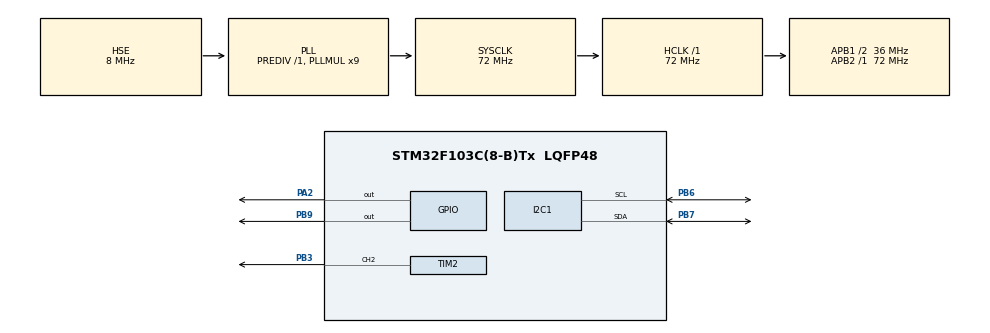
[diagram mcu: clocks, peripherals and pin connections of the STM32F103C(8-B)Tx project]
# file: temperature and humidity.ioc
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I2C1.I2C_Mode=I2C_Fast
Mcu.Family=STM32F1
Mcu.Name=STM32F103C(8-B)Tx
Mcu.Package=LQFP48
NVIC.PriorityGroup=NVIC_PRIORITYGROUP_4
PA13.Mode=Serial_Wire
PA13.Signal=SYS_JTMS-SWDIO
PA14.Mode=Serial_Wire
PA14.Signal=SYS_JTCK-SWCLK
PA2.Signal=GPIO_Output
PB3.Signal=S_TIM2_CH2
PB6.Mode=I2C
PB6.Signal=I2C1_SCL
PB7.Mode=I2C
PB7.Signal=I2C1_SDA
PB9.Signal=GPIO_Output
PD0-OSC_IN.Mode=HSE-External-Oscillator
PD0-OSC_IN.Signal=RCC_OSC_IN
PD1-OSC_OUT.Mode=HSE-External-Oscillator
PD1-OSC_OUT.Signal=RCC_OSC_OUT
ProjectManager.HeapSize=0x200
ProjectManager.StackSize=0x400
ProjectManager.TargetToolchain=STM32CubeIDE
RCC.AHBFreq_Value=72000000
RCC.APB1CLKDivider=RCC_HCLK_DIV2
RCC.APB1Freq_Value=36000000
RCC.APB1TimFreq_Value=72000000
RCC.APB2Freq_Value=72000000
RCC.APB2TimFreq_Value=72000000
RCC.HCLKFreq_Value=72000000
RCC.PLLMUL=RCC_PLL_MUL9
RCC.PLLSourceVirtual=RCC_PLLSOURCE_HSE
RCC.SYSCLKFreq_VALUE=72000000
RCC.SYSCLKSource=RCC_SYSCLKSOURCE_PLLCLK
RCC.USBFreq_Value=72000000
SH.S_TIM2_CH2.0=TIM2_CH2,PWM Generation2 CH2
TIM1.Prescaler=71
TIM2.Channel-PWM\ Generation2\ CH2=TIM_CHANNEL_2
TIM2.Period=625
TIM2.Prescaler=127
VP_TIM1_VS_ClockSourceINT.Mode=Internal
VP_TIM2_VS_ClockSourceINT.Mode=Internal
board=custom

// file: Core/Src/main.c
/* USER CODE BEGIN Header */
/**
  ******************************************************************************
  * @file           : main.c
  * @brief          : Main program body
  ******************************************************************************
  * @attention
  *
  * Copyright (c) 2024 STMicroelectronics.
  * All rights reserved.
  *
  * This software is licensed under terms that can be found in the LICENSE file
  * in the root directory of this software component.
  * If no LICENSE file comes with this software, it is provided AS-IS.
  *
  ******************************************************************************
  */
/* USER CODE END Header */
#include "main.h"

/* USER CODE BEGIN Includes */
#include "fonts.h"
#include "ssd1306.h"
#include "stdio.h"
/* USER CODE END Includes */

I2C_HandleTypeDef hi2c1;

TIM_HandleTypeDef htim1;
TIM_HandleTypeDef htim2;

void SystemClock_Config(void);
static void MX_GPIO_Init(void);
static void MX_I2C1_Init(void);
static void MX_TIM1_Init(void);
static void MX_TIM2_Init(void);

/* USER CODE BEGIN 0 */
#define DHT11_PORT GPIOB
#define DHT11_PIN GPIO_PIN_9
uint8_t RHI, RHD, TCI, TCD, SUM;
uint32_t pMillis, cMillis;
float tCelsius = 0;
float tFahrenheit = 0;
float RH = 0;
uint8_t TFI = 0;
uint8_t TFD = 0;
char strCopy[15];

void microDelay (uint16_t delay)
{
  __HAL_TIM_SET_COUNTER(&htim1, 0);
  while (__HAL_TIM_GET_COUNTER(&htim1) < delay);
}

uint8_t DHT11_Start (void)
{
  uint8_t Response = 0;
  GPIO_InitTypeDef GPIO_InitStructPrivate = {0};
  GPIO_InitStructPrivate.Pin = DHT11_PIN;
  GPIO_InitStructPrivate.Mode = GPIO_MODE_OUTPUT_PP;
  GPIO_InitStructPrivate.Speed = GPIO_SPEED_FREQ_LOW;
  GPIO_InitStructPrivate.Pull = GPIO_NOPULL;
  HAL_GPIO_Init(DHT11_PORT, &GPIO_InitStructPrivate); // set the pin as output
  HAL_GPIO_WritePin (DHT11_PORT, DHT11_PIN, 0);   // pull the pin low
  HAL_Delay(20);   // wait for 20ms
  HAL_GPIO_WritePin (DHT11_PORT, DHT11_PIN, 1);   // pull the pin high
  microDelay (30);   // wait for 30us
  GPIO_InitStructPrivate.Mode = GPIO_MODE_INPUT;
  GPIO_InitStructPrivate.Pull = GPIO_PULLUP;
  HAL_GPIO_Init(DHT11_PORT, &GPIO_InitStructPrivate); // set the pin as input
  microDelay (40);
  if (!(HAL_GPIO_ReadPin (DHT11_PORT, DHT11_PIN)))
  {
    microDelay (80);
    if ((HAL_GPIO_ReadPin (DHT11_PORT, DHT11_PIN))) Response = 1;
  }
  pMillis = HAL_GetTick();
  cMillis = HAL_GetTick();
  while ((HAL_GPIO_ReadPin (DHT11_PORT, DHT11_PIN)) && pMillis + 2 > cMillis)
  {
    cMillis = HAL_GetTick();
  }
  return Response;
}

uint8_t DHT11_Read (void)
{
  uint8_t a,b;
  for (a=0;a<8;a++)
  {
    pMillis = HAL_GetTick();
    cMillis = HAL_GetTick();
    while (!(HAL_GPIO_ReadPin (DHT11_PORT, DHT11_PIN)) && pMillis + 2 > cMillis)
    {  // wait for the pin to go high
      cMillis = HAL_GetTick();
    }
    microDelay (40);   // wait for 40 us
    if (!(HAL_GPIO_ReadPin (DHT11_PORT, DHT11_PIN)))   // if the pin is low
      b&= ~(1<<(7-a));
    else
      b|= (1<<(7-a));
    pMillis = HAL_GetTick();
    cMillis = HAL_GetTick();
    while ((HAL_GPIO_ReadPin (DHT11_PORT, DHT11_PIN)) && pMillis + 2 > cMillis)
    {  // wait for the pin to go low
      cMillis = HAL_GetTick();
    }
  }
  return b;
}
/* USER CODE END 0 */

int main(void)
{

  /* MCU Configuration--------------------------------------------------------*/

  /* Reset of all peripherals, Initializes the Flash interface and the Systick. */
  HAL_Init();

  /* Configure the system clock */
  SystemClock_Config();

  /* Initialize all configured peripherals */
  MX_GPIO_Init();
  MX_I2C1_Init();
  MX_TIM1_Init();
  MX_TIM2_Init();
  /* USER CODE BEGIN 2 */
   HAL_TIM_Base_Start(&htim1);
   SSD1306_Init();
  /* USER CODE END 2 */

  /* Infinite loop */
  /* USER CODE BEGIN WHILE */
  while (1)
  {
	  if(DHT11_Start())
	     {
	       RHI = DHT11_Read(); // Relative humidity integral
	       RHD = DHT11_Read(); // Relative humidity decimal
	       TCI = DHT11_Read(); // Celsius integral
	       TCD = DHT11_Read(); // Celsius decimal
	       SUM = DHT11_Read(); // Check sum
	       if (RHI + RHD + TCI + TCD == SUM)
	       {
	         // Can use RHI and TCI for any purposes if whole number only needed
	         tCelsius = (float)TCI + (float)(TCD/10.0);
	         tFahrenheit = tCelsius * 9/5 + 32;
	         RH = (float)RHI + (float)(RHD/10.0);
	         // Can use tCelsius, tFahrenheit and RH for any purposes
	         TFI = tFahrenheit;  // Fahrenheit integral
	         TFD = tFahrenheit*10-TFI*10; // Fahrenheit decimal
	         sprintf(strCopy,"%d.%d C   ", TCI, TCD);
	         SSD1306_GotoXY (0, 0);
	         SSD1306_Puts (strCopy, &Font_11x18, 1);
	         sprintf(strCopy,"%d.%d F   ", TFI, TFD);
	         SSD1306_GotoXY (0, 20);
	         SSD1306_Puts (strCopy, &Font_11x18, 1);
	         sprintf(strCopy,"%d.%d %%  ", RHI, RHD);
	         SSD1306_GotoXY (0, 40);
	         SSD1306_Puts (strCopy, &Font_11x18, 1);
	         SSD1306_UpdateScreen();
	       }

	       if(tCelsius>20){
	    	   HAL_GPIO_TogglePin(GPIOA, GPIO_PIN_2);
	       }
	     }
	     HAL_Delay(100);
    /* USER CODE END WHILE */

  }
}

void SystemClock_Config(void)
{
  RCC_OscInitTypeDef RCC_OscInitStruct = {0};
  RCC_ClkInitTypeDef RCC_ClkInitStruct = {0};

  /** Initializes the RCC Oscillators according to the specified parameters
  * in the RCC_OscInitTypeDef structure.
  */
  RCC_OscInitStruct.OscillatorType = RCC_OSCILLATORTYPE_HSE;
  RCC_OscInitStruct.HSEState = RCC_HSE_ON;
  RCC_OscInitStruct.HSEPredivValue = RCC_HSE_PREDIV_DIV1;
  RCC_OscInitStruct.HSIState = RCC_HSI_ON;
  RCC_OscInitStruct.PLL.PLLState = RCC_PLL_ON;
  RCC_OscInitStruct.PLL.PLLSource = RCC_PLLSOURCE_HSE;
  RCC_OscInitStruct.PLL.PLLMUL = RCC_PLL_MUL9;
  if (HAL_RCC_OscConfig(&RCC_OscInitStruct) != HAL_OK)
  {
    Error_Handler();
  }

  /** Initializes the CPU, AHB and APB buses clocks
  */
  RCC_ClkInitStruct.ClockType = RCC_CLOCKTYPE_HCLK|RCC_CLOCKTYPE_SYSCLK
                              |RCC_CLOCKTYPE_PCLK1|RCC_CLOCKTYPE_PCLK2;
  RCC_ClkInitStruct.SYSCLKSource = RCC_SYSCLKSOURCE_PLLCLK;
  RCC_ClkInitStruct.AHBCLKDivider = RCC_SYSCLK_DIV1;
  RCC_ClkInitStruct.APB1CLKDivider = RCC_HCLK_DIV2;
  RCC_ClkInitStruct.APB2CLKDivider = RCC_HCLK_DIV1;

  if (HAL_RCC_ClockConfig(&RCC_ClkInitStruct, FLASH_LATENCY_2) != HAL_OK)
  {
    Error_Handler();
  }
}

static void MX_I2C1_Init(void)
{

  hi2c1.Instance = I2C1;
  hi2c1.Init.ClockSpeed = 400000;
  hi2c1.Init.DutyCycle = I2C_DUTYCYCLE_2;
  hi2c1.Init.OwnAddress1 = 0;
  hi2c1.Init.AddressingMode = I2C_ADDRESSINGMODE_7BIT;
  hi2c1.Init.DualAddressMode = I2C_DUALADDRESS_DISABLE;
  hi2c1.Init.OwnAddress2 = 0;
  hi2c1.Init.GeneralCallMode = I2C_GENERALCALL_DISABLE;
  hi2c1.Init.NoStretchMode = I2C_NOSTRETCH_DISABLE;
  if (HAL_I2C_Init(&hi2c1) != HAL_OK)
  {
    Error_Handler();
  }

}

static void MX_TIM1_Init(void)
{

  TIM_ClockConfigTypeDef sClockSourceConfig = {0};
  TIM_MasterConfigTypeDef sMasterConfig = {0};

  htim1.Instance = TIM1;
  htim1.Init.Prescaler = 71;
  htim1.Init.CounterMode = TIM_COUNTERMODE_UP;
  htim1.Init.Period = 65535;
  htim1.Init.ClockDivision = TIM_CLOCKDIVISION_DIV1;
  htim1.Init.RepetitionCounter = 0;
  htim1.Init.AutoReloadPreload = TIM_AUTORELOAD_PRELOAD_DISABLE;
  if (HAL_TIM_Base_Init(&htim1) != HAL_OK)
  {
    Error_Handler();
  }
  sClockSourceConfig.ClockSource = TIM_CLOCKSOURCE_INTERNAL;
  if (HAL_TIM_ConfigClockSource(&htim1, &sClockSourceConfig) != HAL_OK)
  {
    Error_Handler();
  }
  sMasterConfig.MasterOutputTrigger = TIM_TRGO_RESET;
  sMasterConfig.MasterSlaveMode = TIM_MASTERSLAVEMODE_DISABLE;
  if (HAL_TIMEx_MasterConfigSynchronization(&htim1, &sMasterConfig) != HAL_OK)
  {
    Error_Handler();
  }

}

static void MX_TIM2_Init(void)
{

  TIM_ClockConfigTypeDef sClockSourceConfig = {0};
  TIM_MasterConfigTypeDef sMasterConfig = {0};
  TIM_OC_InitTypeDef sConfigOC = {0};

  htim2.Instance = TIM2;
  htim2.Init.Prescaler = 127;
  htim2.Init.CounterMode = TIM_COUNTERMODE_UP;
  htim2.Init.Period = 625;
  htim2.Init.ClockDivision = TIM_CLOCKDIVISION_DIV1;
  htim2.Init.AutoReloadPreload = TIM_AUTORELOAD_PRELOAD_DISABLE;
  if (HAL_TIM_Base_Init(&htim2) != HAL_OK)
  {
    Error_Handler();
  }
  sClockSourceConfig.ClockSource = TIM_CLOCKSOURCE_INTERNAL;
  if (HAL_TIM_ConfigClockSource(&htim2, &sClockSourceConfig) != HAL_OK)
  {
    Error_Handler();
  }
  if (HAL_TIM_PWM_Init(&htim2) != HAL_OK)
  {
    Error_Handler();
  }
  sMasterConfig.MasterOutputTrigger = TIM_TRGO_RESET;
  sMasterConfig.MasterSlaveMode = TIM_MASTERSLAVEMODE_DISABLE;
  if (HAL_TIMEx_MasterConfigSynchronization(&htim2, &sMasterConfig) != HAL_OK)
  {
    Error_Handler();
  }
  sConfigOC.OCMode = TIM_OCMODE_PWM1;
  sConfigOC.Pulse = 0;
  sConfigOC.OCPolarity = TIM_OCPOLARITY_HIGH;
  sConfigOC.OCFastMode = TIM_OCFAST_DISABLE;
  if (HAL_TIM_PWM_ConfigChannel(&htim2, &sConfigOC, TIM_CHANNEL_2) != HAL_OK)
  {
    Error_Handler();
  }
  HAL_TIM_MspPostInit(&htim2);

}

static void MX_GPIO_Init(void)
{
  GPIO_InitTypeDef GPIO_InitStruct = {0};

  /* GPIO Ports Clock Enable */
  __HAL_RCC_GPIOD_CLK_ENABLE();
  __HAL_RCC_GPIOA_CLK_ENABLE();
  __HAL_RCC_GPIOB_CLK_ENABLE();

  /*Configure GPIO pin Output Level */
  HAL_GPIO_WritePin(GPIOA, GPIO_PIN_2, GPIO_PIN_RESET);

  /*Configure GPIO pin Output Level */
  HAL_GPIO_WritePin(GPIOB, GPIO_PIN_9, GPIO_PIN_RESET);

  /*Configure GPIO pin : PA2 */
  GPIO_InitStruct.Pin = GPIO_PIN_2;
  GPIO_InitStruct.Mode = GPIO_MODE_OUTPUT_PP;
  GPIO_InitStruct.Pull = GPIO_NOPULL;
  GPIO_InitStruct.Speed = GPIO_SPEED_FREQ_LOW;
  HAL_GPIO_Init(GPIOA, &GPIO_InitStruct);

  /*Configure GPIO pin : PB9 */
  GPIO_InitStruct.Pin = GPIO_PIN_9;
  GPIO_InitStruct.Mode = GPIO_MODE_OUTPUT_PP;
  GPIO_InitStruct.Pull = GPIO_NOPULL;
  GPIO_InitStruct.Speed = GPIO_SPEED_FREQ_LOW;
  HAL_GPIO_Init(GPIOB, &GPIO_InitStruct);

}

void Error_Handler(void)
{
  __disable_irq();
  while (1)
  {
  }
}
